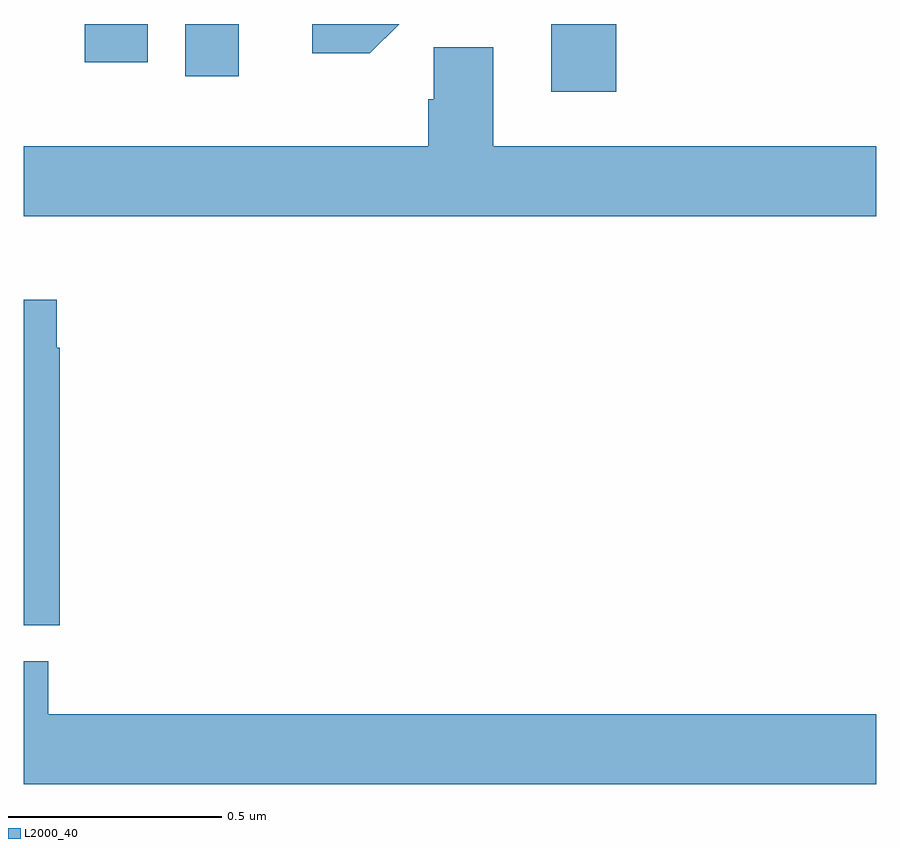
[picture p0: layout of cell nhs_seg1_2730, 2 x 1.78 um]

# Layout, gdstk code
import gdstk
lib = gdstk.Library(unit=1e-6, precision=1e-09)
def R(c, l, rs):  # rectangles x0, y0, x1, y1
    for r in rs: c.add(gdstk.rectangle(r[:2], r[2:], *l))
def P(c, l, *ps):  # polygons
    for p in ps: c.add(gdstk.Polygon(p, *l))
L2000_40 = (2000, 40)

nhs_seg1_2730 = lib.new_cell('nhs_seg1_2730')
R(nhs_seg1_2730, L2000_40, [(146.237,536.04,146.39,536.199), (145.379,536.076,145.504,536.199), (145.143,536.109,145.291,536.199)])
P(nhs_seg1_2730, L2000_40, [(145.881,536.199),(145.677,536.199),(145.677,536.13),(145.812,536.13)],
  [(147,535.912),(146.101,535.912),(146.101,536.144),(145.962,536.144),(145.962,536.022),(145.949,536.022),(145.949,535.912),(145,535.912),(145,535.748),(147,535.748)],
  [(145.085,535.439),(145.078,535.439),(145.078,535.552),(145,535.552),(145,534.789),(145.085,534.789)],
  [(147,534.58),(145.058,534.58),(145.058,534.704),(145,534.704),(145,534.416),(147,534.416)])

lib.write_gds('nhs_seg1_2730.gds')
